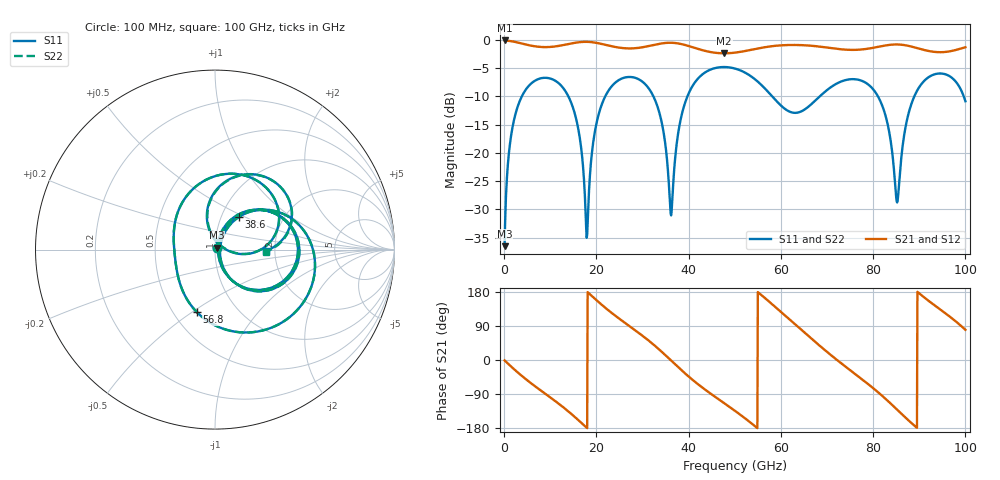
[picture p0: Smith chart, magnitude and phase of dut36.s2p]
! Touchstone file exported from HFSS 2026.1.0
!  File:  C:/ffzhzh/LocalFiles/Ansys_Project_Files/temp_train_TSV_RDL_36_1783441744_41684.aedt
!  Generated:  12:41:12 AM Jul  8, 2026
!  Design:  TSV_RDL
!  Project:  temp_train_TSV_RDL_36_1783441744_41684
! Variables:
!  h_bsmrdl = 4.56um
!  h_ox = 20um
!  h_rdl = 5um
!  h_sub = 66.01um
!  h_tmrdl = 4.58um
!  h_tsv = 66.01um
!  h_via = 3um
!  l_bsmrdl = 656.96um
!  l_sub = 3467.94um
!  l_tmrdl = 236.39um
!  m_sub = 200um
!  pitch = 50.47um
!  r_tsv = 11.64um
!  s_tmrdl = 10um
!  w_bsmrdl = 23.4um
!  w_sub = 500um
!  w_tmrdl = 27.1um
!  x_tsv_center1 = 249.94um
!  x_tsv_center2 = 930.3um
!  x_tsv_center3 = 1193.79um
!  x_tsv_center4 = 1874.15um
!  x_tsv_center5 = 2137.64um
!  x_tsv_center6 = 2818um
# GHz S MA R 50.000000
! Terminal data exported
! Port[1] = TM_RDL1_1_T1
! Port[2] = TM_RDL5_1_T1
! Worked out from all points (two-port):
!   1000 points, 100 MHz to 100 GHz, reference 50 ohm
!   highest |S21| = -0.09 dB at 100 MHz (marker M1); lowest = -2.4 dB at 47.7 GHz (marker M2)
!   |S21| within 3 dB of the highest: start of sweep to end of sweep
!   lowest |S11| = -36.5 dB at 100 MHz (marker M3), VSWR 1.03, Z = 51.1 + j1.06 ohm
!   |S11| at or under -10 dB: 13.93 GHz to 21.91 GHz (7.984 GHz wide, 44.6 % of centre); 58.12 GHz to 68.42 GHz (10.29 GHz wide, 16.3 % of centre); 81.05 GHz to 88.92 GHz (7.874 GHz wide, 9.26 % of centre) (the widest 3 of 6)
!   |S22| runs from -36.5 to -4.8 dB; largest |S21 - S12| = 1.7e-14
!   S11 on the Smith chart (normalised r, x): 100 MHz: 1.02, +0.02; 38.6 GHz: 1.21, +0.47; 56.8 GHz: 0.65, -0.52; 100 GHz: 1.80, -0.02
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0.1  0.01493 44.2  0.9895 -1.2  0.9895 -1.2  0.01493 44.2
! Gamma 0 0 0 0
! Port Impedance 50 0 50 0
1.9  0.176 63.4  0.9689 -21.6  0.9689 -21.6  0.176 63.4
5.8  0.4095 26.2  0.8907 -61.0  0.8907 -61.0  0.4095 26.2
13  0.366 -36.6  0.9038 -126.5  0.9038 -126.5  0.366 -36.6
16.8  0.1018 -68.4  0.9595 -166.5  0.9595 -166.5  0.1018 -68.4
18  0.01887 19.8  0.9619 -179.9  0.9619 -179.9  0.01907 19.7
20.2  0.197 59.7  0.9392 155.8  0.9392 155.8  0.1971 59.6
24.5  0.4315 21.0  0.8603 113.2  0.8603 113.2  0.4315 20.9
33.4  0.2459 -55.7  0.9198 30.0  0.9198 30.0  0.2459 -55.9
36.2  0.02798 0.6  0.9441 -1.3  0.9441 -1.3  0.02738 0.5
38.6  0.2264 53.7  0.9158 -28.6  0.9158 -28.6  0.2262 53.8
47.7  0.5757 -24.4  0.7614 -113.9  0.7614 -113.9  0.5757 -24.4
50.1  0.5572 -44.3  0.7724 -134.6  0.7724 -134.6  0.5572 -44.3
56.8  0.3621 -106.3  0.8657 160.8  0.8657 160.8  0.3622 -106.4
62  0.2307 -162.0  0.9022 105.6  0.9022 105.6  0.2309 -162.1
66.7  0.2722 144.4  0.8875 55.5  0.8875 55.5  0.2724 144.4
74.2  0.443 69.8  0.8195 -19.3  0.8195 -19.3  0.4432 69.8
83.4  0.1597 -9.1  0.9025 -110.4  0.9025 -110.4  0.1602 -8.7
85.3  0.03765 61.8  0.9117 -132.2  0.9117 -132.2  0.03962 60.7
89.8  0.3714 83.2  0.841 177.8  0.841 177.8  0.3715 82.6
95.8  0.4945 33.0  0.784 122.0  0.784 122.0  0.4944 32.4
100  0.2864 -1.1  0.8614 79.6  0.8614 79.6  0.2857 -2.2
